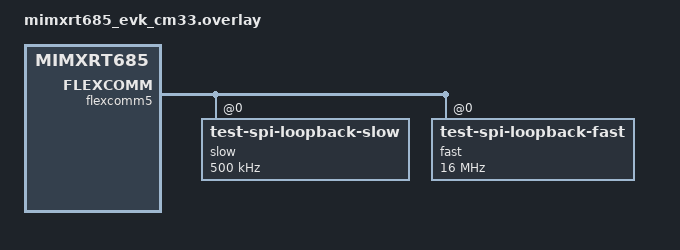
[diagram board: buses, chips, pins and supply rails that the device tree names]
/*
 * Copyright (c) 2022 Kumar Gala <galak@kernel.org>
 *
 * SPDX-License-Identifier: Apache-2.0
 */

&flexcomm5 {
	slow@0 {
		compatible = "test-spi-loopback-slow";
		reg = <0>;
		spi-max-frequency = <DT_FREQ_K(500)>;
	};
	fast@0 {
		compatible = "test-spi-loopback-fast";
		reg = <0>;
		spi-max-frequency = <DT_FREQ_M(16)>;
	};
};
